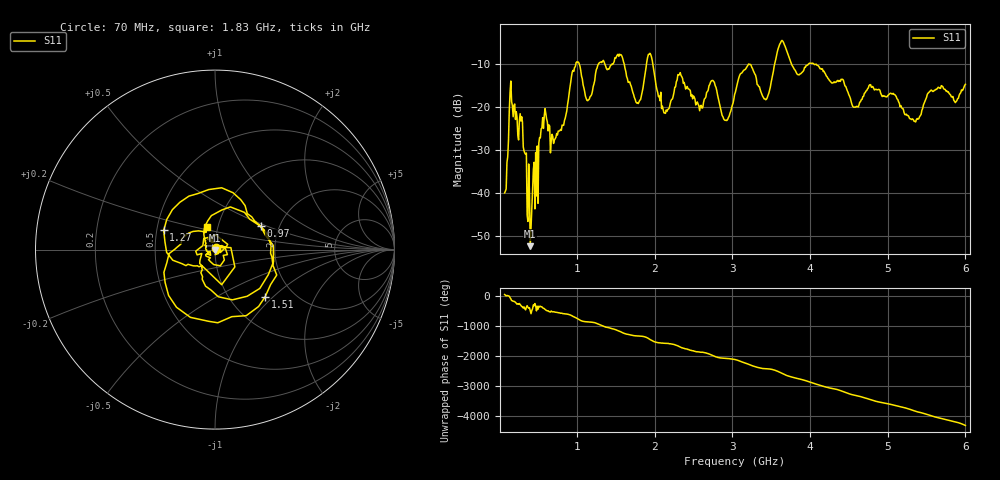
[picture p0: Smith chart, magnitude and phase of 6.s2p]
! S21 sweep bladeRF  2018-06-30T08:46:39
! Window=bharris  Blocks=64  Samples=2048  Method=median
! TX LUT = thru_txlut.csv
# Hz S DB R 50
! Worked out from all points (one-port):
!   594 points, 70 MHz to 6 GHz, reference 50 ohm
!   lowest |S11| = -52.4 dB at 400 MHz (marker M1), VSWR 1.00, Z = 49.9 - j0.209 ohm
!   |S11| at or under -10 dB: start of sweep to 987.3 MHz; 1.977 GHz to 3.546 GHz (1.569 GHz wide, 56.8 % of centre); 4.045 GHz to end of sweep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
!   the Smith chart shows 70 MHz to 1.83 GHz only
!   S11 on the Smith chart (normalised r, x): 70 MHz: 1.01, +0.02; 970 MHz: 1.60, +0.45; 1.27 GHz: 0.54, +0.13; 1.51 GHz: 1.44, -0.90; 1.83 GHz: 0.89, +0.23
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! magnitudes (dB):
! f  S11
! 70 MHz  -40.0
! 150 MHz  -14.0
! 280 MHz  -23.3
! 400 MHz  -52.4
! 580 MHz  -22.2
! 680 MHz  -26.4
! 820 MHz  -24.3
! 970 MHz  -10.9
! 1.14 GHz  -18.6
! 1.27 GHz  -10.3
! 1.51 GHz  -8.3
! 1.56 GHz  -7.9
! 1.83 GHz  -17.5
! 1.93 GHz  -7.8
! 2.13 GHz  -21.5
! 2.3 GHz  -12.5
! 2.6 GHz  -19.7
! 2.75 GHz  -13.9
! 2.91 GHz  -23.2
! 3.04 GHz  -16.6
! 3.22 GHz  -10.2
! 3.44 GHz  -18.3
! 3.63 GHz  -4.8
! 3.78 GHz  -10.7
! 4.52 GHz  -18.1
! 4.79 GHz  -15.5
! 5.26 GHz  -22.0
! 6 GHz  -14.8
